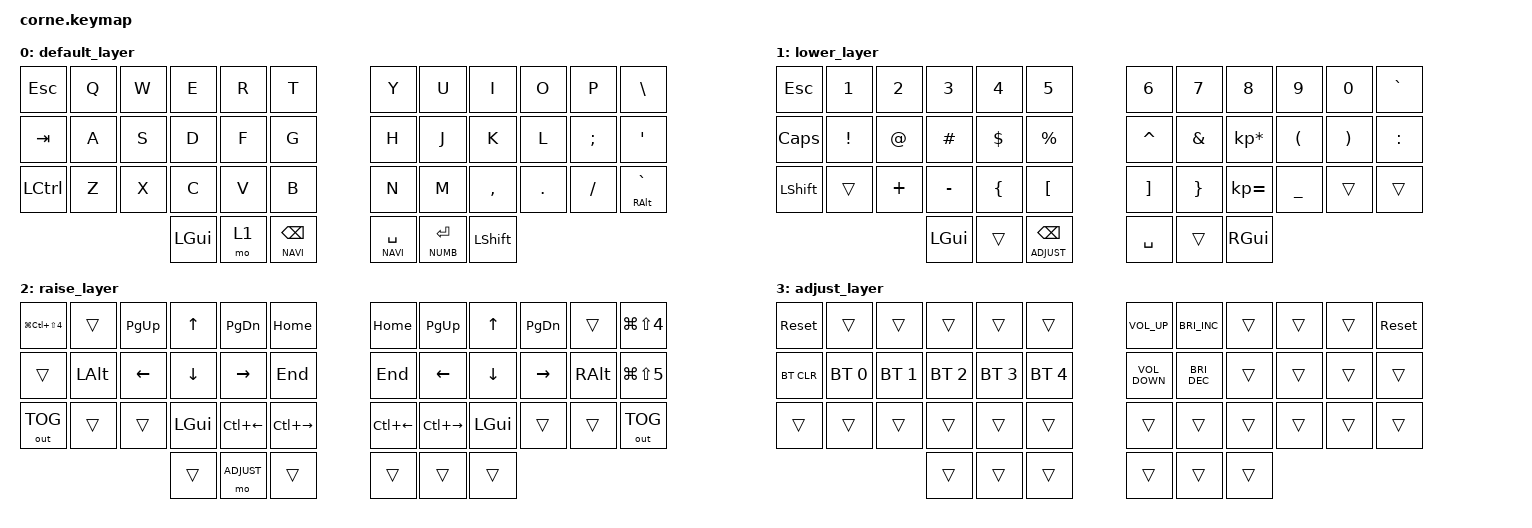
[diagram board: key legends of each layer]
/*
 * Copyright (c) 2020 The ZMK Contributors
 *
 * SPDX-License-Identifier: MIT
 * To use home rows - &hm LSHFT F
 */

#include <behaviors.dtsi>
#include <dt-bindings/zmk/keys.h>
#include <dt-bindings/zmk/bt.h>
#include <dt-bindings/zmk/outputs.h>

#define QWERTY 0
#define NUMB 1
#define NAVI 2
#define ADJUST 3

/ {

    behaviors {
        hm: homerow_mods {
        compatible = "zmk,behavior-hold-tap";
        label = "HOMEROW_MODS";
        #binding-cells = <2>;
        tapping-term-ms = <150>;
        quick_tap_ms = <0>;
        flavor = "tap-preferred";
        bindings = <&kp>, <&kp>;
        };
    };

        keymap {
                compatible = "zmk,keymap";

                default_layer {
// .--------------------------------------------------------------.       .-----------------------------------------------------------.
// |   ESC        |    Q    |    W   |   E    |    R    |    T    |       |   Y   |    U    |    I    |    O    |     P    |    \     |
// |--------------+---------+--------+--------+---------+---------|       |-------+---------+---------+---------+----------+----------|
// |   Tab        |    A    |    S   |   D    |    F    |    G    |       |   H   |    J    |    K    |    L    |     ;    |     '    |
// |--------------+---------+--------+--------+---------+---------|       |-------+---------+---------+---------+----------+----------|
// |   CTRL       |    Z    |    X   |   C    |    V    |    B    |       |   N   |    M    |    ,    |    .    |     /    | ` | ALT  |
// '---------------------------------+--------+---------+---------+       |-------+---------+---------+-------------------------------'
//                                   |  GUI   |   MO1   |   ENT   |       |  SPC  |   BSPC  |  SHFT   |
//                                   '--------+---------+---------'       '-------+---------+---------'
                        bindings = <
   &kp ESC        &kp Q       &kp W      &kp E         &kp R       &kp T            &kp Y              &kp U           &kp I        &kp O     &kp P      &kp BACKSLASH
   &kp TAB        &kp A       &kp S      &kp D         &kp F       &kp G            &kp H              &kp J           &kp K        &kp L     &kp SEMI   &kp SQT
   &kp LCTRL      &kp Z       &kp X      &kp C         &kp V       &kp B            &kp N              &kp M           &kp COMMA    &kp DOT   &kp FSLH   &mt RALT GRAVE
                                         &kp LGUI      &mo 1       &lt NAVI BSPC    &lt NAVI SPACE     &lt NUMB RET    &kp LSHFT
                        >;
                };

                lower_layer {
// .--------------------------------------------------------------.       .-----------------------------------------------------------.
// |   ESC        |    1    |    2   |   3    |    4    |    5    |       |   6   |    7    |    8    |    9    |     0    |    `     |
// |--------------+---------+--------+--------+---------+---------|       |-------+---------+---------+---------+----------+----------|
// |  CAPSLOCK    |    !    |    @   |   #    |    $    |    %    |       |   ^   |    &    |    *    |    (    |     )    |     :    |
// |--------------+---------+--------+--------+---------+---------|       |-------+---------+---------+---------+----------+----------|
// |   SHFT       |         |    +   |   -    |    {    |    [    |       |   ]   |    }    |    =    |    _    |          |          |
// '---------------------------------+--------+---------+---------+       |-------+---------+---------+-------------------------------'
//                                   |  GUI   |         |   MO3   |       | SPACE |         |   GUI   |
//                                   '--------+---------+---------'       '-------+---------+---------'
                        bindings = <
   &kp ESC      &kp N1       &kp N2            &kp N3             &kp N4               &kp N5               &kp N6                   &kp N7                     &kp N8                 &kp N9                   &kp N0     &kp GRAVE
   &kp CAPSLOCK &kp EXCL     &kp AT            &kp HASH           &kp DLLR             &kp PRCNT            &kp CARET                &kp AMPS                   &kp KP_MULTIPLY        &kp LPAR                 &kp RPAR   &kp COLON
   &kp LSHFT    &trans       &kp PLUS       &kp MINUS       &kp LEFT_BRACE       &kp LEFT_BRACKET     &kp RIGHT_BRACKET        &kp RIGHT_BRACE            &kp KP_EQUAL           &kp UNDERSCORE           &trans     &trans
                                               &kp LGUI           &trans               &lt ADJUST BSPC      &kp SPACE                &trans                     &kp RGUI
                        >;
                };

                raise_layer {
// .------------------------------------------------------------------.       .-------------------------------------------------------------------.
// | CMD+CTRL+SHIFT+4 |       |   PU   |   UP   |    PD    |   HOME   |       |  HOME   |    PU    |    UP   |   PD    |       |    CMD+SHIFT+4   |
// |------------------+-------+--------+--------+----------+--------  |       |---------+----------+---------+---------+-------+------------------|
// |                  |  ALT  |  LEFT  |  DOWN  |   RIGHT  |   END    |       |  END    |   LEFT   |   DOWN  |  RIGHT  |  ALT  |    CMD+SHIFT+5   |
// |------------------+-------+--------+--------+----------+----------|       |---------+----------+---------+---------+-------+------------------|
// |     OUT_TOG      |       |        |        |CTRL+LEFT |CTRL+RIGHT|       |CTRL+LEFT|CTRL+RIGHT|         |         |       |   OUT_TOG        |
// '-----------------------------------+--------+----------+----------+       |---------+----------+---------+------------------------------------'
//                                     |  GUI   |   MO3    |          |       |         |          |         |
//                                     '--------+----------+----------'       '---------+----------+---------'

                        bindings = <
   &kp LG(LC(LS(N4)))  &trans        &kp PAGE_UP        &kp UP_ARROW      &kp PAGE_DOWN       &kp HOME                &kp HOME             &kp PAGE_UP             &kp UP_ARROW       &kp PAGE_DOWN      &trans          &kp LG(LS(N4))
   &trans              &kp LALT      &kp LEFT_ARROW     &kp DOWN_ARROW    &kp RIGHT_ARROW     &kp END                 &kp END              &kp LEFT_ARROW          &kp DOWN_ARROW     &kp RIGHT_ARROW    &kp RALT        &kp LG(LS(N5))
   &out OUT_TOG        &trans        &trans             &kp LGUI          &kp LC(LEFT_ARROW)  &kp LC(RIGHT_ARROW)     &kp LC(LEFT_ARROW)   &kp LC(RIGHT_ARROW)     &kp LGUI           &trans             &trans          &out OUT_TOG
                                                        &trans            &mo ADJUST          &trans                  &trans               &trans                  &trans
                        >;
                };

                adjust_layer {
// .--------------------------------------------------------.       .--------------------------------------------------------------.
// |  RESET  |        |        |        |         |         |       |  VOL+  |  BGT+  |         |         |          |    RESET    |
// |---------+--------+--------+--------+---------+---------|       |--------+--------+---------+---------+----------+-------------|
// |  BTCLR  |  BT1   |  BT2   |  BT3   |  BT4    |  BT5    |       |  VOL-  |  BGT+  |         |         |          |             |
// |---------+--------+--------+--------+---------+---------|       |--------+--------+---------+---------+----------+-------------|
// |         |        |        |        |         |         |       |        |        |         |         |          |             |
// '---------------------------+--------+---------+---------+       |--------+--------+---------+----------------------------------'
//                             |        |         |         |       |        |        |         |
//                             '--------+---------+---------'       '--------+--------+---------'

                        bindings = <

   &sys_reset      &trans          &trans         &trans          &trans          &trans            &kp C_VOLUME_UP    &kp C_BRI_INC       &trans      &trans      &trans      &sys_reset
   &bt BT_CLR      &bt BT_SEL 0    &bt BT_SEL 1   &bt BT_SEL 2    &bt BT_SEL 3    &bt BT_SEL 4      &kp C_VOLUME_DOWN  &kp C_BRI_DEC       &trans      &trans      &trans      &trans
   &trans          &trans          &trans         &trans          &trans          &trans            &trans             &trans              &trans      &trans      &trans      &trans
                                                  &trans          &trans          &trans            &trans             &trans              &trans
                        >;
                };
        };
};
